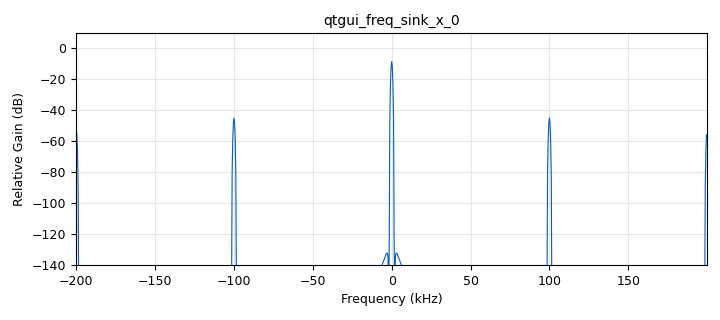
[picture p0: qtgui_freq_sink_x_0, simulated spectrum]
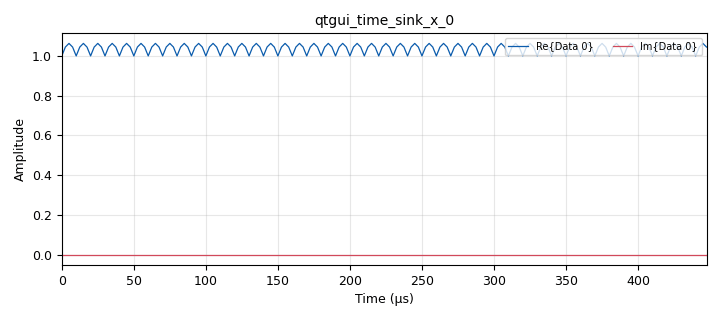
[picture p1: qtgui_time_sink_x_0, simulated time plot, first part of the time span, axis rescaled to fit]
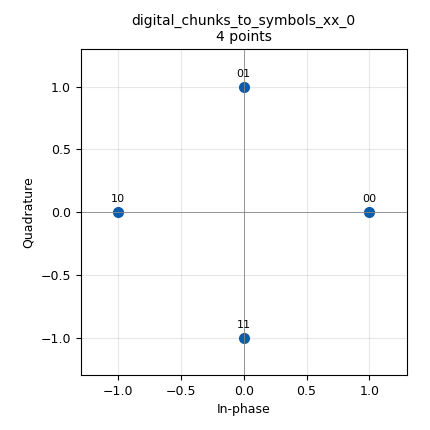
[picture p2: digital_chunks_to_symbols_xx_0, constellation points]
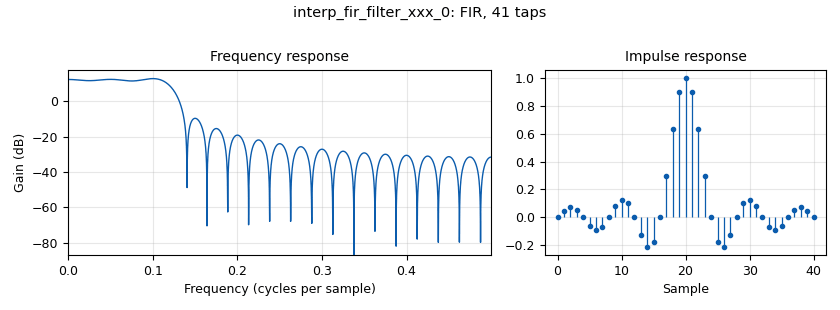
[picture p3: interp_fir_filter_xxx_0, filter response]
options:
  parameters:
    generate_options: qt_gui
    id: sincinter
    output_language: python
    title: Not titled yet
  states: {}

blocks:
- name: samp_rate
  id: variable
  parameters:
    value: '400000'
  states: {}
- name: analog_random_source_x_0
  id: analog_random_source_x
  parameters:
    max: '1'
    min: '0'
    num_samps: '1000'
    repeat: 'True'
    type: int
  states: {}
- name: blocks_throttle_0
  id: blocks_throttle
  parameters:
    samples_per_second: samp_rate/4
    type: complex
  states: {}
- name: digital_chunks_to_symbols_xx_0
  id: digital_chunks_to_symbols_xx
  parameters:
    dimension: '1'
    in_type: int
    out_type: complex
    symbol_table: (np.exp(1*2j*np.pi*np.arange(0,4)/4))
  states: {}
- name: import_0
  id: import
  parameters:
    imports: import numpy as np
  states: {}
- name: interp_fir_filter_xxx_0
  id: interp_fir_filter_xxx
  parameters:
    interp: '4'
    taps: np.sinc(np.linspace(-5,5,41))
    type: ccf
  states: {}
- name: qtgui_const_sink_x_0
  id: qtgui_const_sink_x
  parameters:
    size: '1024'
    type: complex
  states: {}
- name: qtgui_freq_sink_x_0
  id: qtgui_freq_sink_x
  parameters:
    bw: samp_rate
    fc: '0'
    fftsize: '1024'
    type: complex
    wintype: firdes.WIN_BLACKMAN_hARRIS
  states: {}
- name: qtgui_time_sink_x_0
  id: qtgui_time_sink_x
  parameters:
    size: '1024'
    srate: samp_rate
    type: complex
  states: {}

connections:
- [analog_random_source_x_0, '0', digital_chunks_to_symbols_xx_0, '0']
- [blocks_throttle_0, '0', interp_fir_filter_xxx_0, '0']
- [digital_chunks_to_symbols_xx_0, '0', blocks_throttle_0, '0']
- [digital_chunks_to_symbols_xx_0, '0', qtgui_const_sink_x_0, '0']
- [interp_fir_filter_xxx_0, '0', qtgui_freq_sink_x_0, '0']
- [interp_fir_filter_xxx_0, '0', qtgui_time_sink_x_0, '0']

metadata:
  file_format: 1
